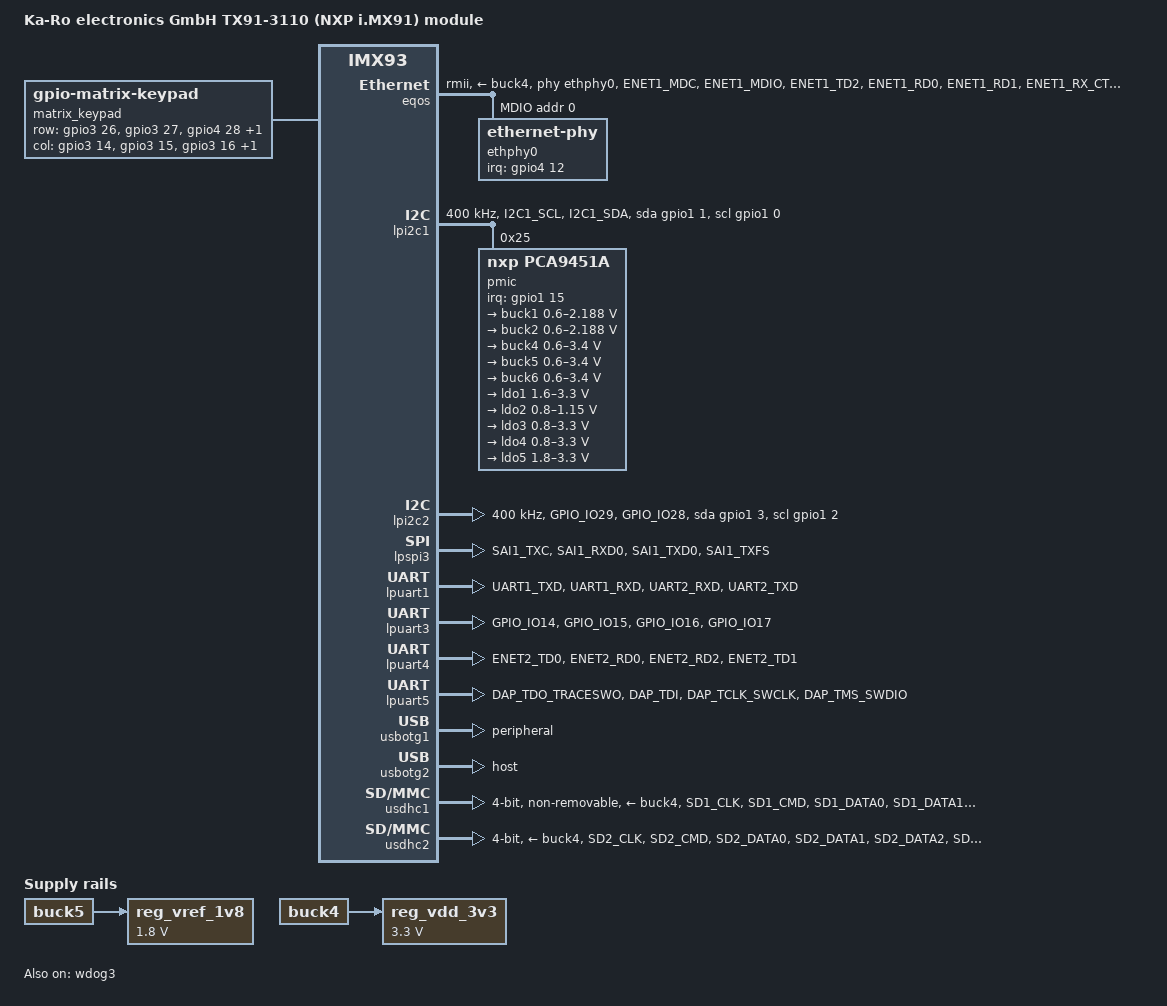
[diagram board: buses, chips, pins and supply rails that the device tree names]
// SPDX-License-Identifier: (GPL-2.0+ OR MIT)
/*
 * Copyright 2023 Lothar Waßmann <LW@KARO-electronics.de>
 * Copyright 2023 Markus Bauer <MB@KARO-electronics.de>
 */

/dts-v1/;

#include <dt-bindings/input/input.h>
#include "imx91-karo.dtsi"

/ {
	model = "Ka-Ro electronics GmbH TX91-3110 (NXP i.MX91) module";
	compatible = "karo,imx93-tx93-5210", "fsl,imx93";

	aliases {
		ethernet0 = &eqos;
		ethernet1 = &fec;
		serial1 = &lpuart3;
		serial2 = &lpuart5;
		serial3 = &lpuart2;
        serial4 = &lpuart4;
		spi0 = &lpspi3;
		spi1 = &lpspi7;
		spi2 = &lpspi6; /* serial3 */
		spi3 = &lpspi8; /* serial2 */
		spi4 = &lpspi1; /* sai1 */
		spi5 = &lpspi2; /* serial1 */
		spi6 = &lpspi4; /* sai2, usbotg_vbusen */
		spi7 = &lpspi5; /* dto. */
		usbotg = &usbotg1;
	};

	matrix_keypad: keypad {
		compatible = "gpio-matrix-keypad";
		pinctrl-names = "default";
		pinctrl-0 = <&pinctrl_keypad>;
		wakeup-source;
		row-gpios = <
			     &gpio3 26 GPIO_ACTIVE_HIGH
			     &gpio3 27 GPIO_ACTIVE_HIGH
			     &gpio4 28 GPIO_ACTIVE_HIGH
			     &gpio4 29 GPIO_ACTIVE_HIGH
		>;
		col-gpios = <
			     &gpio3 14 GPIO_ACTIVE_HIGH
			     &gpio3 15 GPIO_ACTIVE_HIGH
			     &gpio3 16 GPIO_ACTIVE_HIGH
			     &gpio3 17 GPIO_ACTIVE_HIGH
		>;
		linux,keymap = <
			        MATRIX_KEY(0, 0, KEY_KP0)
			        MATRIX_KEY(0, 1, KEY_KP1)
			        MATRIX_KEY(0, 2, KEY_KP2)
			        MATRIX_KEY(0, 3, KEY_KP3)
			        MATRIX_KEY(1, 0, KEY_KP4)
			        MATRIX_KEY(1, 1, KEY_KP5)
			        MATRIX_KEY(1, 2, KEY_KP6)
			        MATRIX_KEY(1, 3, KEY_KP7)
			        MATRIX_KEY(2, 0, KEY_KP8)
			        MATRIX_KEY(2, 1, KEY_KP9)
			        MATRIX_KEY(2, 2, KEY_ENTER)
			        MATRIX_KEY(2, 3, KEY_ESC)
			        MATRIX_KEY(3, 0, KEY_UP)
			        MATRIX_KEY(3, 1, KEY_DOWN)
			        MATRIX_KEY(3, 2, KEY_LEFT)
			        MATRIX_KEY(3, 3, KEY_RIGHT)
		>;
		gpio-activelow;
	};

	reg_vref_1v8: regulator-adc-vref {
		compatible = "regulator-fixed";
		regulator-name = "vref_1v8";
		regulator-min-microvolt = <1800000>;
		regulator-max-microvolt = <1800000>;
		vin-supply = <&buck5>;
	};

	reg_vdd_3v3: regulator-3v3 {
		compatible = "regulator-fixed";
		regulator-name = "vdd_3v3";
		regulator-min-microvolt = <3300000>;
		regulator-max-microvolt = <3300000>;
		vin-supply = <&buck4>;
	};
};

&eqos {
	pinctrl-names = "default";
	pinctrl-0 = <&pinctrl_eqos_rmii>;
	assigned-clock-rates = <0>, <50000000>;
	phy-mode = "rmii";
	phy-handle = <&ethphy0>;
	phy-supply = <&buck4>;
	status = "okay";

	mdio {
		compatible = "snps,dwmac-mdio";
		pinctrl-names = "default";
		pinctrl-0 = <&pinctrl_ethphy0_rst>;
		clocks = <&clk IMX93_CLK_ENET>;
		reset-gpios = <&gpio4 13 GPIO_ACTIVE_LOW>;
		reset-delay-us = <100>;
		reset-post-delay-us = <25000>;
		clock-frequency = <2500000>;
		#address-cells = <1>;
		#size-cells = <0>;

		ethphy0: ethernet-phy@0 {
			reg = <0>;
			pinctrl-names = "default";
			pinctrl-0 = <&pinctrl_ethphy0_int>;
			interrupt-parent = <&gpio4>;
			interrupts = <12 IRQ_TYPE_EDGE_FALLING>;
			eee-broken-100tx;
			smsc,disable-energy-detect;
		};
	};
};

&fec {
	pinctrl-names = "default";
	pinctrl-0 = <&pinctrl_fec_rgmii>;
	phy-supply = <&buck4>;
	status = "disabled";

	mdio {
		#address-cells = <1>;
		#size-cells = <0>;
		clock-frequency = <5000000>;
	};
};

&lpi2c1 {
	clock-frequency = <400000>;
	pinctrl-names = "default", "gpio";
	pinctrl-0 = <&pinctrl_lpi2c1>;
	pinctrl-1 = <&pinctrl_lpi2c1_gpio>;
	scl-gpios = <&gpio1 0 (GPIO_ACTIVE_HIGH | GPIO_OPEN_DRAIN)>;
	sda-gpios = <&gpio1 1 (GPIO_ACTIVE_HIGH | GPIO_OPEN_DRAIN)>;
	status = "okay";

	pmic: pmic@25 {
		compatible = "nxp,pca9451a";
		reg = <0x25>;
		pinctrl-names = "default";
		pinctrl-0 = <&pinctrl_pmic>;
		interrupt-parent = <&gpio1>;
		interrupts = <15 IRQ_TYPE_LEVEL_LOW>;

		regulators {
			buck1: BUCK1 {
				regulator-name = "BUCK1";
				regulator-min-microvolt = <600000>;
				regulator-max-microvolt = <2187500>;
				regulator-boot-on;
				regulator-always-on;
				regulator-ramp-delay = <3125>;
			};

			buck2: BUCK2 {
				regulator-name = "BUCK2";
				regulator-min-microvolt = <600000>;
				regulator-max-microvolt = <2187500>;
				regulator-ramp-delay = <3125>;
			};

			buck4: BUCK4 {
				regulator-name = "BUCK4";
				regulator-min-microvolt = <600000>;
				regulator-max-microvolt = <3400000>;
				regulator-boot-on;
				regulator-always-on;
			};

			buck5: BUCK5 {
				regulator-name = "BUCK5";
				regulator-min-microvolt = <600000>;
				regulator-max-microvolt = <3400000>;
				regulator-boot-on;
				regulator-always-on;
			};

			buck6: BUCK6 {
				regulator-name = "BUCK6";
				regulator-min-microvolt = <600000>;
				regulator-max-microvolt = <3400000>;
				regulator-boot-on;
				regulator-always-on;
			};

			ldo1: LDO1 {
				regulator-name = "LDO1";
				regulator-min-microvolt = <1600000>;
				regulator-max-microvolt = <3300000>;
				regulator-boot-on;
				regulator-always-on;
			};

			ldo2: LDO2 {
				regulator-name = "LDO2";
				regulator-min-microvolt = <800000>;
				regulator-max-microvolt = <1150000>;
				regulator-boot-on;
				regulator-always-on;
			};

			ldo3: LDO3 {
				regulator-name = "LDO3";
				regulator-min-microvolt = <800000>;
				regulator-max-microvolt = <3300000>;
				regulator-boot-on;
				regulator-always-on;
			};

			ldo4: LDO4 {
				regulator-name = "LDO4";
				regulator-min-microvolt = <800000>;
				regulator-max-microvolt = <3300000>;
				regulator-boot-on;
				regulator-always-on;
			};

			ldo5: LDO5 {
				regulator-name = "LDO5";
				regulator-min-microvolt = <1800000>;
				regulator-max-microvolt = <3300000>;
				regulator-boot-on;
				regulator-always-on;
			};
		};
	};
};

&lpi2c2 {
	clock-frequency = <400000>;
	pinctrl-names = "default", "gpio";
	pinctrl-0 = <&pinctrl_lpi2c2>;
	pinctrl-1 = <&pinctrl_lpi2c2_gpio>;
	scl-gpios = <&gpio1 2 (GPIO_ACTIVE_HIGH | GPIO_OPEN_DRAIN)>;
	sda-gpios = <&gpio1 3 (GPIO_ACTIVE_HIGH | GPIO_OPEN_DRAIN)>;
	status = "okay";
};

&lpspi3 {
	pinctrl-names = "default";
	pinctrl-0 = <&pinctrl_lpspi3 &pinctrl_lpspi3_cs>;
	cs-gpios = <&gpio1 11 GPIO_ACTIVE_LOW>;
	spi-max-frequency = <25000000>;
};

&lpuart1 { /* console */
	pinctrl-names = "default";
	pinctrl-0 = <&pinctrl_uart1 &pinctrl_uart1_rtscts>;
	uart-has-rtscts;
	status = "okay";
};

&lpuart2 {
	pinctrl-names = "default";
	pinctrl-0 = <&pinctrl_uart2>;
	status = "disabled";
};

&lpuart3 {
	pinctrl-names = "default";
	pinctrl-0 = <&pinctrl_uart3 &pinctrl_uart3_rtscts>;
	uart-has-rtscts;
	status = "okay";
};

&lpuart4 {
	pinctrl-names = "default";
	pinctrl-0 = <&pinctrl_uart4 &pinctrl_uart4_rtscts>;
	uart-has-rtscts;
	status = "okay";
};

&lpuart5 {
	pinctrl-names = "default";
	pinctrl-0 = <&pinctrl_uart5 &pinctrl_uart5_rtscts>;
	uart-has-rtscts;
	status = "okay";
};

&usbotg1 {
	/* May be modified by U-Boot according to 'otg_mode' variable */
	dr_mode = "peripheral";
	hnp-disable;
	srp-disable;
	adp-disable;
	disable-over-current;
	samsung,picophy-pre-emp-curr-control = <3>;
	samsung,picophy-dc-vol-level-adjust = <7>;
	status = "okay";
};

&usbotg2 {
	dr_mode = "host";
	hnp-disable;
	srp-disable;
	adp-disable;
	disable-over-current;
	samsung,picophy-pre-emp-curr-control = <3>;
	samsung,picophy-dc-vol-level-adjust = <7>;
	status = "okay";
};

&usdhc1 { /* eMMC */
	pinctrl-names = "default";
	pinctrl-0 = <&pinctrl_usdhc1>;
	vmmc-supply = <&buck4>;
	vqmmc-supply = <&buck4>;
	bus-width = <4>;
	no-1-8-v;
	non-removable;
	status = "okay";
};

&usdhc2 {
	pinctrl-names = "default";
	pinctrl-0 = <&pinctrl_usdhc2>;
	vmmc-supply = <&buck4>;
	vqmmc-supply = <&buck4>;
	bus-width = <4>;
	no-1-8-v;
	no-sdio;
	no-mmc;
	status = "okay";
};

&wdog3 {
	status = "okay";
};

&iomuxc {
	pinctrl-names = "default";
	status = "okay";

	pinctrl_backlight0: backlight0grp {
		fsl,pins = <
			MX93_PAD_I2C2_SCL__GPIO1_IO02				0x1e
		>;
	};

	pinctrl_eqos_rmii: eqos-rmiigrp {
		fsl,pins = <
			MX93_PAD_ENET1_MDC__ENET_QOS_MDC			0x01e
			MX93_PAD_ENET1_MDIO__ENET_QOS_MDIO			0x01e
			MX93_PAD_ENET1_TD2__CCM_ENET_QOS_CLOCK_GENERATE_REF_CLK	0x4000009e
			/* Strap pins: MODE0 HIGH: 0x2.. LOW: 0x4.. */
			MX93_PAD_ENET1_RD0__ENET_QOS_RGMII_RD0			0x21e
			/* MODE1 */
			MX93_PAD_ENET1_RD1__ENET_QOS_RGMII_RD1			0x21e
			/* MODE2 (external pullup) */
			MX93_PAD_ENET1_RX_CTL__ENET_QOS_RGMII_RX_CTL		0x21e
			/* PHYAD0 */
			MX93_PAD_ENET1_RXC__ENET_QOS_RX_ER			0x41e

			MX93_PAD_ENET1_TD0__ENET_QOS_RGMII_TD0			0x41e
			MX93_PAD_ENET1_TD1__ENET_QOS_RGMII_TD1			0x41e
			MX93_PAD_ENET1_TX_CTL__ENET_QOS_RGMII_TX_CTL		0x41e
		>;
	};

	pinctrl_lcdif: lcdifgrp {
		fsl,pins = <
			MX93_PAD_GPIO_IO00__MEDIAMIX_DISP_CLK           0x31e
			MX93_PAD_GPIO_IO01__MEDIAMIX_DISP_DE            0x31e
			MX93_PAD_GPIO_IO02__MEDIAMIX_DISP_VSYNC         0x31e
			MX93_PAD_GPIO_IO03__MEDIAMIX_DISP_HSYNC         0x31e
			MX93_PAD_GPIO_IO04__MEDIAMIX_DISP_DATA00        0x31e
			MX93_PAD_GPIO_IO05__MEDIAMIX_DISP_DATA01        0x31e
			MX93_PAD_GPIO_IO06__MEDIAMIX_DISP_DATA02        0x31e
			MX93_PAD_GPIO_IO07__MEDIAMIX_DISP_DATA03        0x31e
			MX93_PAD_GPIO_IO08__MEDIAMIX_DISP_DATA04        0x31e
			MX93_PAD_GPIO_IO09__MEDIAMIX_DISP_DATA05        0x31e
			MX93_PAD_GPIO_IO10__MEDIAMIX_DISP_DATA06        0x31e
			MX93_PAD_GPIO_IO11__MEDIAMIX_DISP_DATA07        0x31e
			MX93_PAD_GPIO_IO12__MEDIAMIX_DISP_DATA08        0x31e
			MX93_PAD_GPIO_IO13__MEDIAMIX_DISP_DATA09        0x31e
			MX93_PAD_GPIO_IO14__MEDIAMIX_DISP_DATA10        0x31e
			MX93_PAD_GPIO_IO15__MEDIAMIX_DISP_DATA11        0x31e
			MX93_PAD_GPIO_IO16__MEDIAMIX_DISP_DATA12        0x31e
			MX93_PAD_GPIO_IO17__MEDIAMIX_DISP_DATA13        0x31e
			MX93_PAD_GPIO_IO18__MEDIAMIX_DISP_DATA14        0x31e
			MX93_PAD_GPIO_IO19__MEDIAMIX_DISP_DATA15        0x31e
			MX93_PAD_GPIO_IO20__MEDIAMIX_DISP_DATA16        0x31e
			MX93_PAD_GPIO_IO21__MEDIAMIX_DISP_DATA17        0x31e
		>;
	};

	pinctrl_ethphy0_int: ethphy0-intgrp {
		fsl,pins = <
			MX93_PAD_ENET1_RD2__GPIO4_IO12				0x21e
		>;
	};

	pinctrl_ethphy0_rst: ethphy0-rstgrp {
		fsl,pins = <
			MX93_PAD_ENET1_RD3__GPIO4_IO13				0x21e
		>;
	};

	pinctrl_fec_rgmii: fec-rgmiigrp {
		fsl,pins = <
			MX93_PAD_SD3_DATA3__GPIO3_IO25				0x01e
			MX93_PAD_ENET2_TX_CTL__ENET1_RGMII_TX_CTL	0x21e
			MX93_PAD_ENET2_RD1__ENET1_RGMII_RD1			0x21e
			MX93_PAD_ENET1_TD3__ENET_QOS_RGMII_TD3		0x21e
			MX93_PAD_ENET2_TD2__ENET1_RGMII_TD2			0x21e
			MX93_PAD_ENET2_RX_CTL__ENET1_RGMII_RX_CTL	0x41e
			MX93_PAD_ENET2_RXC__ENET1_RGMII_RXC			0x09e
			MX93_PAD_SD1_STROBE__GPIO3_IO18				0x01e
			MX93_PAD_I2C2_SDA__GPIO1_IO03				0x01e
			MX93_PAD_ENET2_RD3__ENET1_RGMII_RD3			0x01e
			MX93_PAD_SD3_DATA2__GPIO3_IO24				0x01e
			MX93_PAD_ENET2_TXC__ENET1_RGMII_TXC			0x09e
			MX93_PAD_ENET2_TD3__ENET1_RGMII_TD3			0x01e
		>;
	};

	pinctrl_keypad: keypadgrp {
		fsl,pins = <
			MX93_PAD_CCM_CLKO1__GPIO3_IO26				0x1200
			MX93_PAD_CCM_CLKO2__GPIO3_IO27				0x1200
			MX93_PAD_CCM_CLKO3__GPIO4_IO28				0x1200
			MX93_PAD_CCM_CLKO4__GPIO4_IO29				0x1200
			MX93_PAD_SD1_DATA4__GPIO3_IO14				0x21e
			MX93_PAD_SD1_DATA5__GPIO3_IO15				0x21e
			MX93_PAD_SD1_DATA6__GPIO3_IO16				0x21e
			MX93_PAD_SD1_DATA7__GPIO3_IO17				0x21e
		>;
	};

	pinctrl_lpi2c1: lpi2c1grp {
		fsl,pins = <
			MX93_PAD_I2C1_SCL__LPI2C1_SCL				0x40001a1e
			MX93_PAD_I2C1_SDA__LPI2C1_SDA				0x40001a1e
		>;
	};

	pinctrl_lpi2c1_gpio: lpi2c1-gpiogrp {
		fsl,pins = <
			MX93_PAD_I2C1_SCL__GPIO1_IO00				0x40001a1e
			MX93_PAD_I2C1_SDA__GPIO1_IO01				0x40001a1e
		>;
	};

	pinctrl_lpi2c2: lpi2c2grp {
		fsl,pins = <
			MX93_PAD_GPIO_IO29__LPI2C3_SCL				0x40001a1e
			MX93_PAD_GPIO_IO28__LPI2C3_SDA				0x40001a1e
		>;
	};

	pinctrl_lpi2c2_gpio: lpi2c2-gpiogrp {
		fsl,pins = <
			MX93_PAD_GPIO_IO29__GPIO2_IO29				0x40001a1e
			MX93_PAD_GPIO_IO28__GPIO2_IO28				0x40001a1e
		>;
	};

	pinctrl_lpspi3: lpspi3-grp {
		fsl,pins = <
			MX93_PAD_SAI1_TXC__LPSPI1_SIN				0x21e
			MX93_PAD_SAI1_RXD0__LPSPI1_SOUT				0x01e
			MX93_PAD_SAI1_TXD0__LPSPI1_SCK				0x01e
			MX93_PAD_SAI1_TXFS__LPSPI1_PCS0				0x01e
		>;
	};

	pinctrl_lpspi3_cs: lpspi3-csgrp {
		fsl,pins = <
			MX93_PAD_SAI1_TXFS__GPIO1_IO11				0x4000021e
		>;
	};

	pinctrl_pmic: pmicgrp {
		fsl,pins = <
			MX93_PAD_WDOG_ANY__GPIO1_IO15				0x21e
		>;
	};

	pinctrl_uart1: uart1grp {
		fsl,pins = <
			MX93_PAD_UART1_TXD__LPUART1_TX				0x21e
			MX93_PAD_UART1_RXD__LPUART1_RX				0x21e
		>;
	};

	pinctrl_uart1_rtscts: uart1-rtsctsgrp {
		fsl,pins = <
			MX93_PAD_UART2_RXD__LPUART1_CTS_B			0x21e
			MX93_PAD_UART2_TXD__LPUART1_RTS_B			0x21e
		>;
	};

	pinctrl_uart2: uart2grp {
		fsl,pins = <
			MX93_PAD_UART2_TXD__LPUART2_TX				0x21e
			MX93_PAD_UART2_RXD__LPUART2_RX				0x21e
		>;
	};

	pinctrl_uart3: uart3grp {
		fsl,pins = <
			MX93_PAD_GPIO_IO14__LPUART3_TX				0x21e
			MX93_PAD_GPIO_IO15__LPUART3_RX				0x21e
		>;
	};

	pinctrl_uart3_rtscts: uart3-rtsctsgrp {
		fsl,pins = <
			MX93_PAD_GPIO_IO16__LPUART3_CTS_B			0x21e
			MX93_PAD_GPIO_IO17__LPUART3_RTS_B			0x21e
		>;
	};

	pinctrl_uart4: uart4grp {
		fsl,pins = <
			MX93_PAD_ENET2_TD0__LPUART4_TX				0x21e
			MX93_PAD_ENET2_RD0__LPUART4_RX				0x21e
		>;
	};

	pinctrl_uart4_rtscts: uart4-rtsctsgrp {
		fsl,pins = <
			MX93_PAD_ENET2_RD2__LPUART4_CTS_B			0x21e
			MX93_PAD_ENET2_TD1__LPUART4_RTS_B			0x21e
		>;
	};

	pinctrl_uart5: uart5grp {
		fsl,pins = <
			MX93_PAD_DAP_TDO_TRACESWO__LPUART5_TX		0x21e
			MX93_PAD_DAP_TDI__LPUART5_RX				0x21e
		>;
	};

	pinctrl_uart5_rtscts: uart5-rtsctsgrp {
		fsl,pins = <
			MX93_PAD_DAP_TCLK_SWCLK__LPUART5_CTS_B		0x21e
			MX93_PAD_DAP_TMS_SWDIO__LPUART5_RTS_B		0x21e
		>;
	};

	pinctrl_usdhc1: usdhc1grp {
		fsl,pins = <
			MX93_PAD_SD1_CLK__USDHC1_CLK				0x09e
			MX93_PAD_SD1_CMD__USDHC1_CMD				0x29e
			MX93_PAD_SD1_DATA0__USDHC1_DATA0			0x29e
			MX93_PAD_SD1_DATA1__USDHC1_DATA1			0x29e
			MX93_PAD_SD1_DATA2__USDHC1_DATA2			0x29e
			MX93_PAD_SD1_DATA3__USDHC1_DATA3			0x29e
		>;
	};

	pinctrl_usdhc2: usdhc2grp {
		fsl,pins = <
			MX93_PAD_SD2_CLK__USDHC2_CLK				0x09e
			MX93_PAD_SD2_CMD__USDHC2_CMD				0x29e
			MX93_PAD_SD2_DATA0__USDHC2_DATA0			0x29e
			MX93_PAD_SD2_DATA1__USDHC2_DATA1			0x29e
			MX93_PAD_SD2_DATA2__USDHC2_DATA2			0x29e
			MX93_PAD_SD2_DATA3__USDHC2_DATA3			0x29e
		>;
	};
};
